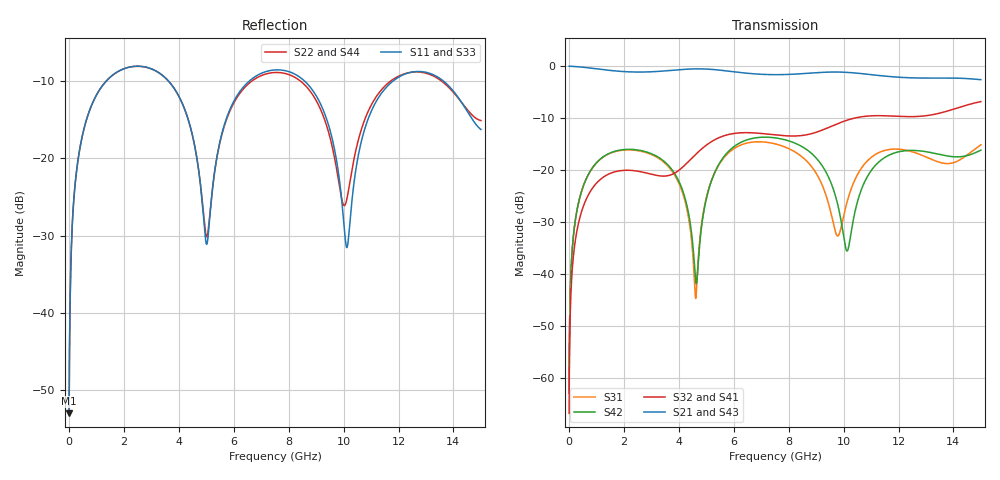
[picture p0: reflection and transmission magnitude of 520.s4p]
! Created with skrf 1.8.0 (http://scikit-rf.org).
# GHz S RI R 50.0
!freq ReS11 ImS11 ReS12 ImS12 ReS13 ImS13
! ReS14 ImS14
! ReS21 ImS21 ReS22 ImS22 ReS23 ImS23
! ReS24 ImS24
! ReS31 ImS31 ReS32 ImS32 ReS33 ImS33
! ReS34 ImS34
! ReS41 ImS41 ReS42 ImS42 ReS43 ImS43
! ReS44 ImS44
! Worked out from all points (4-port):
!   2499 points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, 5 MHz to 15 GHz, reference 50 ohm
!   strongest paths, dB at 5 MHz, 3.476 GHz, 7.19 GHz, 11.1 GHz, 15 GHz:
!     S21: 0.0, -0.9, -1.6, -1.7, -2.6
!     S43: 0.0, -0.9, -1.6, -1.7, -2.6
!     S32: -66.9, -21.2, -13.1, -9.6, -6.8
!     S41: -66.9, -21.2, -13.1, -9.6, -6.8
!     S42: -62.9, -18.4, -13.7, -19.5, -16.2
!     S31: -62.9, -18.6, -14.7, -17.2, -15.2
!   lowest |S11| = -53.0 dB at 5 MHz (marker M1), VSWR 1.00, Z = 50.2 + j0.136 ohm
!   |S11| at or under -10 dB: 3.619 GHz to 6.576 GHz (2.957 GHz wide, 58 % of centre); 8.571 GHz to 11.81 GHz (3.24 GHz wide, 31.8 % of centre); 13.63 GHz to end of sweep (the widest 3 of 4)
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0.005  0.00179 0.00136  0.9982 -0.00348  9.03e-05 0.000711  -8.77e-05 -0.000446
       0.9982 -0.00348  0.00179 0.00136  -8.77e-05 -0.000446  9.04e-05 0.000711
       9.03e-05 0.000711  -8.77e-05 -0.000446  0.00179 0.00136  0.9982 -0.00348
       -8.77e-05 -0.000446  9.04e-05 0.000711  0.9982 -0.00348  0.00179 0.00136
0.3126303  0.0279 0.0886  0.9619 -0.2156  0.0128 0.0418  -0.0108 -0.0258
           0.9619 -0.2156  0.0278 0.0886  -0.0108 -0.0258  0.0131 0.0417
           0.0128 0.0418  -0.0108 -0.0258  0.0279 0.0886  0.9619 -0.2156
           -0.0108 -0.0258  0.0131 0.0417  0.9619 -0.2156  0.0278 0.0886
1.419341  0.2704 0.1781  0.5505 -0.7284  0.1265 0.0637  -0.0904 -0.00645
          0.5505 -0.7284  0.2694 0.1789  -0.0904 -0.00643  0.1293 0.0599
          0.1265 0.0637  -0.0904 -0.00643  0.2703 0.1781  0.5505 -0.7284
          -0.0904 -0.00645  0.1293 0.0599  0.5505 -0.7284  0.2693 0.1788
4.614423  0.0509 -0.0984  -0.8874 -0.3099  -0.00572 -0.00101  -0.0424 0.1348
          -0.8874 -0.3099  0.0544 -0.0966  -0.0421 0.1348  -0.0078 -0.00342
          -0.00572 -0.00101  -0.0421 0.1348  0.0501 -0.0969  -0.8877 -0.3097
          -0.0424 0.1348  -0.0078 -0.00342  -0.8877 -0.3097  0.0541 -0.095
7.665694  0.371 -0.0276  -0.054 0.8255  0.1664 -0.0495  0.2065 -0.0604
          -0.054 0.8255  0.3573 -0.013  0.2066 -0.0611  0.1713 -0.1045
          0.1664 -0.0495  0.2066 -0.0611  0.3727 -0.0267  -0.0551 0.8247
          0.2065 -0.0604  0.1713 -0.1045  -0.0551 0.8247  0.3593 -0.0127
10.41684  0.0411 0.0659  0.856 -0.0643  0.0672 0.0452  -0.0354 -0.3144
          0.856 -0.0643  0.0682 0.0817  -0.0364 -0.3144  0.0184 0.0353
          0.0672 0.0452  -0.0364 -0.3144  0.0392 0.065  0.8564 -0.0611
          -0.0354 -0.3144  0.0184 0.0353  0.8564 -0.0611  0.0697 0.0806
15  0.1494 -0.0348  -0.7068 -0.2189  -0.081 0.1547  -0.1484 0.4302
    -0.7068 -0.2189  0.1731 -0.0262  -0.1467 0.4305  -0.0807 0.1324
    -0.081 0.1547  -0.1467 0.4305  0.1535 -0.0425  -0.7031 -0.2289
    -0.1484 0.4302  -0.0807 0.1324  -0.7031 -0.2289  0.1755 -0.0337
